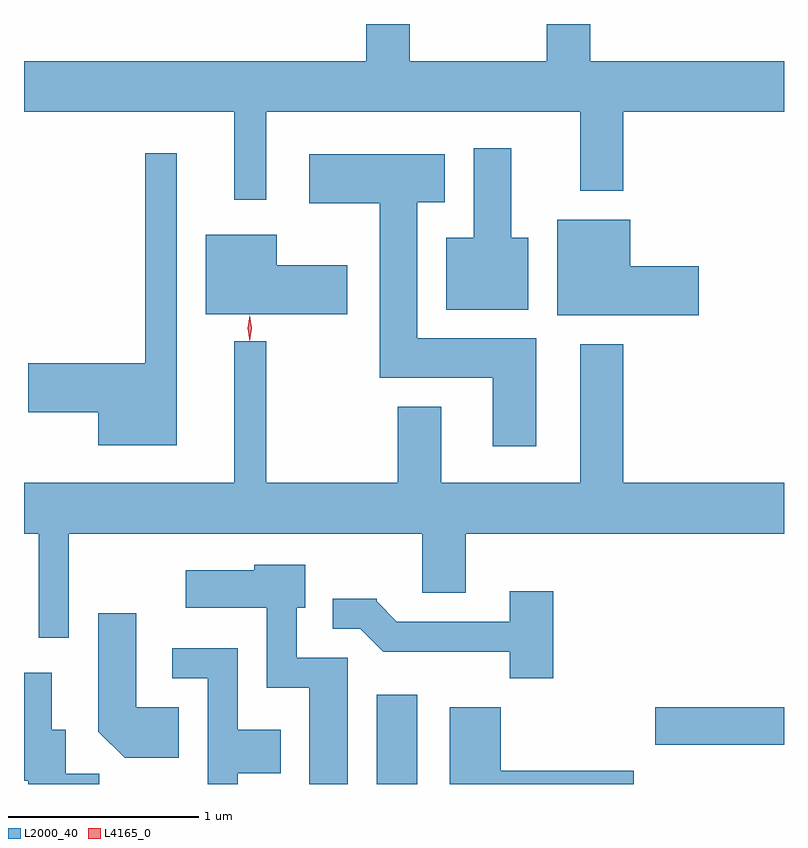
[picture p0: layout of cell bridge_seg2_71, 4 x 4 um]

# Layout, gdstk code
import gdstk
lib = gdstk.Library(unit=1e-6, precision=1e-09)
def R(c, l, rs):  # rectangles x0, y0, x1, y1
    for r in rs: c.add(gdstk.rectangle(r[:2], r[2:], *l))
def P(c, l, *ps):  # polygons
    for p in ps: c.add(gdstk.Polygon(p, *l))
L2000_40 = (2000, 40)
L4165_0 = (4165, 0)

bridge_seg2_71 = lib.new_cell('bridge_seg2_71')
R(bridge_seg2_71, L2000_40, [(1111.421,1100.279,1111.634,1100.749), (1112.886,1100.486,1113.564,1100.684)])
P(bridge_seg2_71, L2000_40, [(1110.839,1103.816),(1112.491,1103.816),(1112.491,1103.401),(1112.719,1103.401),(1112.719,1103.816),(1113.564,1103.816),(1113.564,1104.084),(1112.544,1104.084),(1112.544,1104.279),(1112.316,1104.279),(1112.316,1104.084),(1111.594,1104.084),(1111.594,1104.279),(1111.366,1104.279),(1111.366,1104.084),(1109.564,1104.084),(1109.564,1103.816),(1110.671,1103.816),(1110.671,1103.353),(1110.839,1103.353)],
  [(1112.219,1103.154),(1112.129,1103.154),(1112.129,1103.624),(1111.931,1103.624),(1111.931,1103.154),(1111.786,1103.154),(1111.786,1102.776),(1112.219,1102.776)],
  [(1110.369,1103.598),(1110.201,1103.598),(1110.201,1102.494),(1109.586,1102.494),(1109.586,1102.236),(1109.956,1102.236),(1109.956,1102.061),(1110.369,1102.061)],
  [(1112.259,1102.624),(1111.634,1102.624),(1111.634,1103.341),(1111.779,1103.341),(1111.779,1103.594),(1111.066,1103.594),(1111.066,1103.336),(1111.436,1103.336),(1111.436,1102.416),(1112.031,1102.416),(1112.031,1102.056),(1112.259,1102.056)],
  [(1113.114,1103.004),(1112.754,1103.004),(1112.754,1103.249),(1112.371,1103.249),(1112.371,1102.746),(1113.114,1102.746)],
  [(1111.264,1103.009),(1110.894,1103.009),(1110.894,1103.169),(1110.521,1103.169),(1110.521,1102.751),(1111.264,1102.751)],
  [(1109.799,1101.596),(1111.661,1101.596),(1111.661,1101.286),(1111.889,1101.286),(1111.889,1101.596),(1113.564,1101.596),(1113.564,1101.864),(1112.719,1101.864),(1112.719,1102.594),(1112.491,1102.594),(1112.491,1101.864),(1111.759,1101.864),(1111.759,1102.264),(1111.531,1102.264),(1111.531,1101.864),(1110.839,1101.864),(1110.839,1102.608),(1110.671,1102.608),(1110.671,1101.864),(1109.564,1101.864),(1109.564,1101.596),(1109.641,1101.596),(1109.641,1101.048),(1109.799,1101.048)],
  [(1111.269,1100.944),(1110.999,1100.944),(1110.999,1101.206),(1111.044,1101.206),(1111.044,1101.434),(1110.776,1101.434),(1110.776,1101.404),(1110.416,1101.404),(1110.416,1101.206),(1110.841,1101.206),(1110.841,1100.786),(1111.066,1100.786),(1111.066,1100.279),(1111.269,1100.279)],
  [(1112.349,1101.294),(1112.121,1101.294),(1112.121,1101.134),(1111.527,1101.134),(1111.42,1101.241),(1111.42,1101.254),(1111.188,1101.254),(1111.188,1101.096),(1111.334,1101.096),(1111.454,1100.976),(1112.121,1100.976),(1112.121,1100.836),(1112.349,1100.836)],
  [(1110.379,1100.684),(1110.154,1100.684),(1110.154,1101.179),(1109.956,1101.179),(1109.956,1100.554),(1110.094,1100.416),(1110.379,1100.416)],
  [(1110.689,1100.336),(1110.914,1100.336),(1110.914,1100.564),(1110.689,1100.564),(1110.689,1100.994),(1110.343,1100.994),(1110.343,1100.836),(1110.531,1100.836),(1110.531,1100.279),(1110.689,1100.279)],
  [(1109.959,1100.334),(1109.784,1100.334),(1109.784,1100.564),(1109.709,1100.564),(1109.709,1100.864),(1109.564,1100.864),(1109.564,1100.296),(1109.586,1100.296),(1109.586,1100.279),(1109.959,1100.279)],
  [(1112.774,1100.349),(1112.074,1100.349),(1112.074,1100.684),(1111.806,1100.684),(1111.806,1100.279),(1112.774,1100.279)])
P(bridge_seg2_71, L4165_0, [(1110.752,1102.61),(1110.752,1102.61),(1110.742,1102.678),(1110.751,1102.745),(1110.752,1102.746),(1110.752,1102.745),(1110.762,1102.678),(1110.753,1102.61)],
  [(1110.752,1102.613),(1110.752,1102.613),(1110.742,1102.676),(1110.752,1102.74),(1110.752,1102.74),(1110.752,1102.74),(1110.762,1102.676),(1110.753,1102.613)])

lib.write_gds('bridge_seg2_71.gds')
